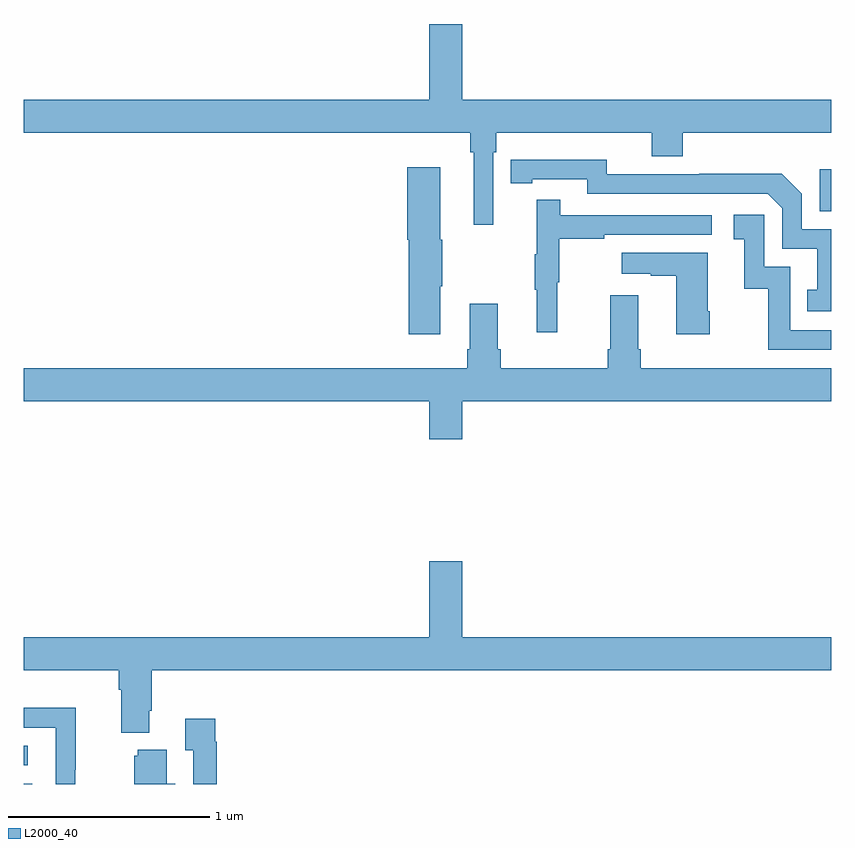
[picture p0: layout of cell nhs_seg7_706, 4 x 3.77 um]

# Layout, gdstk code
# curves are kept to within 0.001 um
import gdstk
lib = gdstk.Library(unit=1e-6, precision=1e-09)
def R(c, l, rs):  # rectangles x0, y0, x1, y1
    for r in rs: c.add(gdstk.rectangle(r[:2], r[2:], *l))
def P(c, l, *ps):  # polygons
    for p in ps: c.add(gdstk.Polygon(p, *l))
L2000_40 = (2000, 40)

nhs_seg7_706 = lib.new_cell('nhs_seg7_706')
R(nhs_seg7_706, L2000_40, [(163,1052,163.042,1052.002), (163,1052.094,163.018,1052.19), (166.944,1054.839,167,1055.047)])
P(nhs_seg7_706, L2000_40, [(165.327,1055.132),(165.341,1055.132),(165.341,1055.228),(166.112,1055.228),(166.112,1055.111),(166.265,1055.111),(166.265,1055.228),(167,1055.228),(167,1055.392),(165.172,1055.392),(165.172,1055.767),(165.008,1055.767),(165.008,1055.392),(163,1055.392),(163,1055.228),(165.211,1055.228),(165.211,1055.132),(165.23,1055.132),(165.23,1054.773),(165.327,1054.773)],
  [(167,1054.749),(166.854,1054.749),(166.854,1054.926),(166.756,1055.024),(166.348,1055.024),(166.348,1055.022),(165.888,1055.022),(165.888,1055.095),(165.412,1055.094),(165.412,1054.978),(165.52,1054.978),(165.52,1054.998),(165.792,1054.998),(165.792,1054.926),(166.686,1054.926),(166.758,1054.854),(166.758,1054.653),(166.931,1054.653),(166.931,1054.449),(166.882,1054.449),(166.882,1054.344),(167,1054.344)],
  [(165.064,1054.468),(165.072,1054.468),(165.072,1054.698),(165.064,1054.698),(165.064,1055.056),(164.9,1055.056),(164.9,1054.698),(164.906,1054.698),(164.906,1054.23),(165.064,1054.23)],
  [(165.644,1054.488),(165.652,1054.488),(165.652,1054.702),(165.875,1054.702),(165.875,1054.722),(166.408,1054.722),(166.408,1054.818),(165.659,1054.818),(165.659,1054.897),(165.542,1054.897),(165.542,1054.625),(165.531,1054.625),(165.531,1054.451),(165.542,1054.451),(165.542,1054.239),(165.644,1054.239)],
  [(167,1054.248),(166.797,1054.248),(166.797,1054.563),(166.668,1054.563),(166.668,1054.822),(166.518,1054.822),(166.518,1054.701),(166.571,1054.701),(166.571,1054.455),(166.689,1054.455),(166.689,1054.152),(167,1054.152)],
  [(166.398,1054.342),(166.39,1054.342),(166.39,1054.633),(165.963,1054.633),(165.963,1054.529),(166.106,1054.529),(166.106,1054.519),(166.232,1054.519),(166.232,1054.23),(166.398,1054.23)],
  [(165.172,1053.896),(167,1053.896),(167,1054.06),(166.058,1054.06),(166.058,1054.156),(166.045,1054.156),(166.045,1054.423),(165.905,1054.423),(165.905,1054.156),(165.893,1054.156),(165.893,1054.06),(165.362,1054.06),(165.362,1054.156),(165.349,1054.156),(165.349,1054.381),(165.209,1054.381),(165.209,1054.156),(165.197,1054.156),(165.197,1054.06),(163,1054.06),(163,1053.896),(165.008,1053.896),(165.008,1053.708),(165.172,1053.708)],
  [(163.621,1052.362),(163.634,1052.362),(163.634,1052.564),(167,1052.564),(167,1052.728),(165.172,1052.728),(165.172,1053.103),(165.008,1053.103),(165.008,1052.728),(163,1052.728),(163,1052.564),(163.469,1052.564),(163.469,1052.468),(163.481,1052.468),(163.481,1052.255),(163.621,1052.255)],
  [(163.254,1052.071),(163.257,1052.071),(163.257,1052.378),(163,1052.378),(163,1052.28),(163.158,1052.28),(163.158,1052),(163.254,1052)],
  [(163.955,1052.21),(163.948,1052.21),(163.948,1052.323),(163.799,1052.323),(163.799,1052.167),(163.839,1052.167),(163.839,1052),(163.955,1052)],
  [(163.75,1052.002),(163.708,1052.002),(163.708,1052.17),(163.565,1052.17),(163.565,1052.139),(163.547,1052.139),(163.547,1052),(163.75,1052)])

lib.write_gds('nhs_seg7_706.gds')
